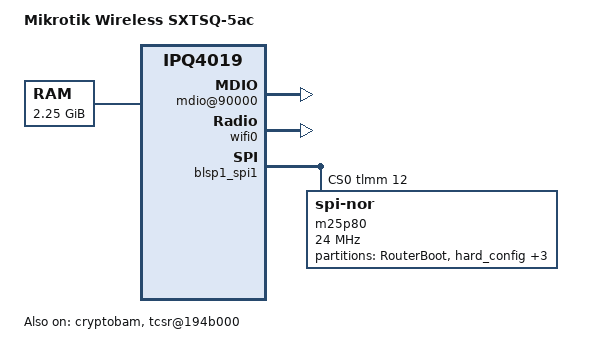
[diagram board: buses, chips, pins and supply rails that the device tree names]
/* Copyright (c) 2015, The Linux Foundation. All rights reserved.
 * Copyright (c) 2019, Robert Marko <robimarko@gmail.com>
 * Copyright (c) 2020, Daniel Hodges <hodges.daniel.scott@gmail.com>
 *
 * Permission to use, copy, modify, and/or distribute this software for any
 * purpose with or without fee is hereby granted, provided that the above
 * copyright notice and this permission notice appear in all copies.
 *
 * THE SOFTWARE IS PROVIDED "AS IS" AND THE AUTHOR DISCLAIMS ALL WARRANTIES
 * WITH REGARD TO THIS SOFTWARE INCLUDING ALL IMPLIED WARRANTIES OF
 * MERCHANTABILITY AND FITNESS. IN NO EVENT SHALL THE AUTHOR BE LIABLE FOR
 * ANY SPECIAL, DIRECT, INDIRECT, OR CONSEQUENTIAL DAMAGES OR ANY DAMAGES
 * WHATSOEVER RESULTING FROM LOSS OF USE, DATA OR PROFITS, WHETHER IN AN
 * ACTION OF CONTRACT, NEGLIGENCE OR OTHER TORTIOUS ACTION, ARISING OUT OF
 * OR IN CONNECTION WITH THE USE OR PERFORMANCE OF THIS SOFTWARE.
 *
 */

#include "qcom-ipq4019.dtsi"
#include <dt-bindings/gpio/gpio.h>
#include <dt-bindings/input/input.h>
#include <dt-bindings/soc/qcom,tcsr.h>

/ {
	model = "Mikrotik Wireless SXTSQ-5ac";
	compatible = "mikrotik,sxtsq-5ac";

	aliases {
		led-boot = &led_status;
		led-failsafe = &led_status;
		led-running = &led_status;
		led-upgrade = &led_upgrade;
	};

	memory {
		device_type = "memory";
		reg = <0x80000000 0x8fffffff>;
	};

	soc {
		rng@22000 {
			status = "okay";
		};

		mdio@90000 {
			status = "okay";
		};

		tcsr@1949000 {
			compatible = "qcom,tcsr";
			reg = <0x1949000 0x100>;
			qcom,wifi_glb_cfg = <TCSR_WIFI_GLB_CFG>;
		};

		tcsr@194b000 {
			status = "okay";
			compatible = "qcom,tcsr";
			reg = <0x194b000 0x100>;
			qcom,usb-hsphy-mode-select = <TCSR_USB_HSPHY_HOST_MODE>;
		};

		ess_tcsr@1953000 {
			compatible = "qcom,tcsr";
			reg = <0x1953000 0x1000>;
			qcom,ess-interface-select = <TCSR_ESS_PSGMII_RGMII5>;
		};

		tcsr@1957000 {
			compatible = "qcom,tcsr";
			reg = <0x1957000 0x100>;
			qcom,wifi_noc_memtype_m0_m2 = <TCSR_WIFI_NOC_MEMTYPE_M0_M2>;
		};

		crypto@e820000 {
			status = "okay";
		};

		watchdog@b017000 {
			status = "okay";
		};

		ess-switch@c000000 {
			status = "okay";
		};

		ess-psgmii@98000 {
			status = "okay";
		};
	};
};

&blsp_dma {
	status = "okay";
};


&cryptobam {
	status = "okay";
};

&wifi0 {
	status = "okay";
};

/* spi block device */
&blsp1_spi1 {
	pinctrl-0 = <&spi_0_pins>;
	pinctrl-names = "default";
	cs-gpios = <&tlmm 12 GPIO_ACTIVE_HIGH>;
	status = "okay";

	m25p80@0 {
		reg = <0>;
		compatible = "jedec,spi-nor";
		spi-max-frequency = <24000000>;

		partitions {
			compatible = "fixed-partitions";
			#address-cells = <1>;
			#size-cells = <1>;

			partition0@0 {
				label = "RouterBoot";
				reg = <0x80000 0xe000>;
				read-only;
			};

			partition1@8e000 {
				label = "hard_config";
				reg = <0x8e000 0x01000>;
			};

			partition2@90000 {
				label = "dts_config";
				reg = <0x90000 0x10000>;
				read-only;
			};

			partition3@bd000 {
				label = "soft_config";
				reg = <0xbd000 0x01000>;
			};

			partition4@1000000 {
				compatible = "mikrotik,minor";
				label = "firmware";
				reg = <0x100000 0xf00000>;
			};
		};
	};
};
